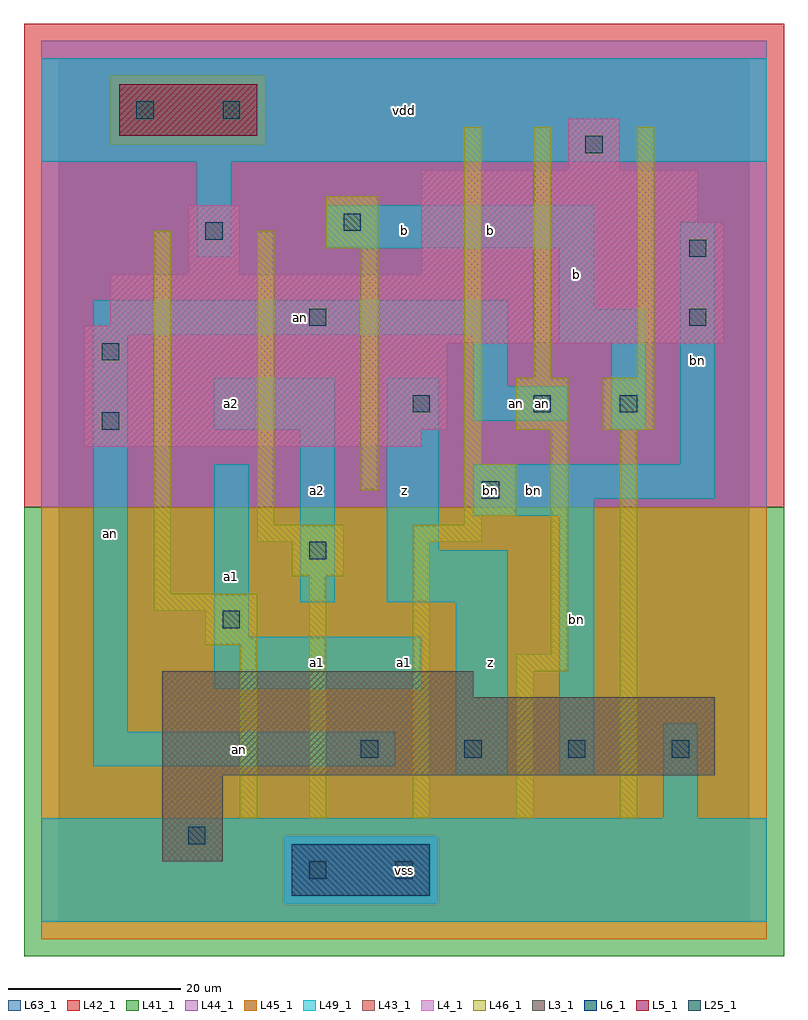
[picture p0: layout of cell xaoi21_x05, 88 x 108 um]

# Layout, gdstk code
import gdstk
lib = gdstk.Library(unit=1e-6, precision=1e-09)
def R(c, l, rs):  # rectangles x0, y0, x1, y1
    for r in rs: c.add(gdstk.rectangle(r[:2], r[2:], *l))
def A(c, l, x, y, w, h, nx, ny, dx, dy):  # array of equal rectangles
    R(c, l, [(x+i*dx, y+j*dy, x+i*dx+w, y+j*dy+h) for i in range(nx) for j in range(ny)])
L3_1 = (3, 1)
L4_1 = (4, 1)
L5_1 = (5, 1)
L6_1 = (6, 1)
L25_1 = (25, 1)
L41_1 = (41, 1)
L42_1 = (42, 1)
L43_1 = (43, 1)
L44_1 = (44, 1)
L45_1 = (45, 1)
L46_1 = (46, 1)
L49_1 = (49, 1)
L63_1 = (63, 1)

xaoi21_x05 = lib.new_cell('xaoi21_x05')
R(xaoi21_x05, L3_1, [(12,7,19,17), (12,17,76,26), (12,26,48,29)])
R(xaoi21_x05, L4_1, [(3,55,42,57), (3,57,45,67), (3,67,77,69), (6,69,77,75), (15,75,21,83), (42,75,77,81), (42,81,74,87), (59,87,65,93)])
R(xaoi21_x05, L5_1, [(7,91,23,97)])
R(xaoi21_x05, L6_1, [(27,3,43,9), (27,3,43,9)])
A(xaoi21_x05, L25_1, 35, 19, 2, 2, 4, 1, 12, 0)
R(xaoi21_x05, L25_1, [(29,5,31,7), (39,5,41,7), (15,9,17,11), (19,34,21,36), (29,42,31,44), (49,49,51,51), (5,57,7,59), (41,59,43,61), (55,59,57,61), (65,59,67,61), (5,65,7,67), (29,69,31,71), (73,69,75,71), (73,77,75,79), (17,79,19,81), (33,80,35,82), (61,89,63,91), (9,93,11,95), (19,93,21,95)])
R(xaoi21_x05, L41_1, [(-4,-4,84,48)])
R(xaoi21_x05, L42_1, [(-4,48,84,104)])
R(xaoi21_x05, L43_1, [(27,3,43,9), (12,7,19,17), (12,17,76,26), (12,26,48,29), (3,55,42,57), (3,57,45,67), (3,67,77,69), (6,69,77,75), (15,75,21,83), (42,75,77,81), (42,81,74,87), (59,87,65,93), (7,91,23,97)])
R(xaoi21_x05, L44_1, [(26,2,44,10), (-2,48,82,90), (-2,90,6,98), (24,90,82,98), (-2,98,82,102)])
R(xaoi21_x05, L45_1, [(-2,-2,82,2), (-2,2,26,10), (44,2,82,10), (-2,10,82,48), (6,90,24,98)])
R(xaoi21_x05, L46_1, [(21,12,23,32), (29,12,31,40), (41,12,43,44), (53,12,55,29), (65,12,67,57), (53,29,59,31), (57,31,59,57), (17,32,23,36), (11,36,23,38), (11,38,13,80), (27,40,33,44), (23,44,33,46), (41,44,49,46), (23,46,25,80), (47,46,49,47), (47,47,53,53), (35,50,37,78), (47,53,49,92), (53,57,59,63), (63,57,69,63), (55,63,57,92), (67,63,69,92), (31,78,37,84)])
R(xaoi21_x05, L49_1, [(-2,0,82,12), (70,12,74,23), (46,17,52,37), (58,17,62,47), (4,18,39,22), (4,22,8,68), (18,27,42,33), (18,33,22,53), (28,37,32,57), (38,37,52,43), (38,43,44,63), (48,47,62,49), (48,49,76,53), (72,53,76,81), (18,57,32,63), (64,57,68,67), (48,58,59,62), (48,62,52,68), (58,67,68,71), (4,68,52,72), (58,71,62,78), (16,77,20,88), (31,78,62,83), (-2,88,82,100)])
R(xaoi21_x05, L63_1, [(0,0,80,100)])
xaoi21_x05.add(gdstk.Label('bn', (50,50), layer=49, texttype=1))
xaoi21_x05.add(gdstk.Label('an', (56,60), layer=49, texttype=1))
xaoi21_x05.add(gdstk.Label('an', (6,45), layer=49, texttype=1))
xaoi21_x05.add(gdstk.Label('a1', (20,40), layer=49, texttype=1))
xaoi21_x05.add(gdstk.Label('a2', (20,60), layer=49, texttype=1))
xaoi21_x05.add(gdstk.Label('vss', (40,6), layer=49, texttype=1))
xaoi21_x05.add(gdstk.Label('an', (21,20), layer=49, texttype=1))
xaoi21_x05.add(gdstk.Label('a1', (30,30), layer=49, texttype=1))
xaoi21_x05.add(gdstk.Label('a1', (40,30), layer=49, texttype=1))
xaoi21_x05.add(gdstk.Label('a2', (30,50), layer=49, texttype=1))
xaoi21_x05.add(gdstk.Label('z', (40,50), layer=49, texttype=1))
xaoi21_x05.add(gdstk.Label('b', (40,80), layer=49, texttype=1))
xaoi21_x05.add(gdstk.Label('vdd', (40,94), layer=49, texttype=1))
xaoi21_x05.add(gdstk.Label('z', (50,30), layer=49, texttype=1))
xaoi21_x05.add(gdstk.Label('bn', (60,35), layer=49, texttype=1))
xaoi21_x05.add(gdstk.Label('bn', (55,50), layer=49, texttype=1))
xaoi21_x05.add(gdstk.Label('an', (53,60), layer=49, texttype=1))
xaoi21_x05.add(gdstk.Label('an', (28,70), layer=49, texttype=1))
xaoi21_x05.add(gdstk.Label('b', (60,75), layer=49, texttype=1))
xaoi21_x05.add(gdstk.Label('b', (50,80), layer=49, texttype=1))
xaoi21_x05.add(gdstk.Label('bn', (74,65), layer=49, texttype=1))

lib.write_gds('xaoi21_x05.gds')
